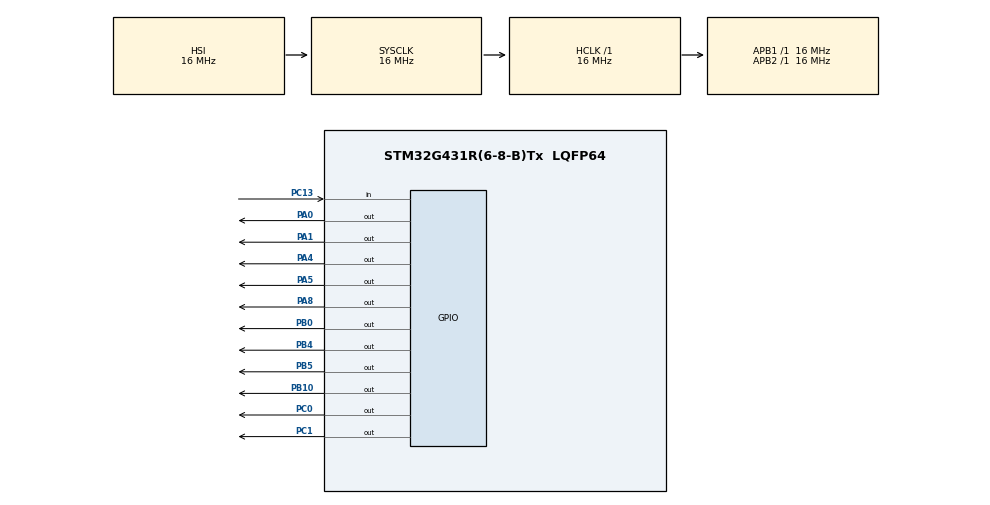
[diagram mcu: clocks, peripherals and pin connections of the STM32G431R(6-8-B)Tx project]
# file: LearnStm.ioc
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Mcu.Family=STM32G4
Mcu.Name=STM32G431R(6-8-B)Tx
Mcu.Package=LQFP64
NVIC.PriorityGroup=NVIC_PRIORITYGROUP_4
PA0.Signal=GPIO_Output
PA1.Signal=GPIO_Output
PA4.Signal=GPIO_Output
PA5.Signal=GPIO_Output
PA8.Signal=GPIO_Output
PB0.Signal=GPIO_Output
PB10.Signal=GPIO_Output
PB4.Signal=GPIO_Output
PB5.Signal=GPIO_Output
PC0.Signal=GPIO_Output
PC1.Signal=GPIO_Output
PC13.Signal=GPIO_Input
ProjectManager.HeapSize=0x200
ProjectManager.StackSize=0x400
ProjectManager.TargetToolchain=STM32CubeIDE
RCC.AHBFreq_Value=16000000
RCC.APB1Freq_Value=16000000
RCC.APB1TimFreq_Value=16000000
RCC.APB2Freq_Value=16000000
RCC.APB2TimFreq_Value=16000000
RCC.CortexFreq_Value=16000000
RCC.EXTERNAL_CLOCK_VALUE=12288000
RCC.HCLKFreq_Value=16000000
RCC.HSE_VALUE=8000000
RCC.HSI48_VALUE=48000000
RCC.HSI_VALUE=16000000
RCC.LSE_VALUE=32768
RCC.SYSCLKFreq_VALUE=16000000
RCC.USBFreq_Value=64000000
RCC.VCOOutputFreq_Value=128000000
VP_SYS_VS_DBSignals.Mode=DisableDeadBatterySignals
board=custom

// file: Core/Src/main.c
/* USER CODE BEGIN Header */
/**
  ******************************************************************************
  * @file           : main.c
  * @brief          : Main program body
  ******************************************************************************
  * @attention
  *
  * Copyright (c) 2026 STMicroelectronics.
  * All rights reserved.
  *
  * This software is licensed under terms that can be found in the LICENSE file
  * in the root directory of this software component.
  * If no LICENSE file comes with this software, it is provided AS-IS.
  *
  ******************************************************************************
  */
/* USER CODE END Header */
#include "main.h"

void SystemClock_Config(void);
static void MX_GPIO_Init(void);

int main(void)
{

  /* MCU Configuration--------------------------------------------------------*/

  /* Reset of all peripherals, Initializes the Flash interface and the Systick. */
  HAL_Init();

  /* Configure the system clock */
  SystemClock_Config();

  /* Initialize all configured peripherals */
  MX_GPIO_Init();

  /* Infinite loop */
  /* USER CODE BEGIN WHILE */
  void DisplayDigit(uint8_t num)
  {
      // bit 0 = a
      // bit 1 = b
      // bit 2 = c
      // bit 3 = d
      // bit 4 = e
      // bit 5 = f
      // bit 6 = g

      const uint8_t pattern[10] =
      {
          0b00111111, // 0 = a b c d e f
          0b00000110, // 1 = b c
          0b01011011, // 2 = a b d e g
          0b01001111, // 3 = a b c d g
          0b01100110, // 4 = b c f g
          0b01101101, // 5 = a c d f g
          0b01111101, // 6 = a c d e f g
          0b00000111, // 7 = a b c
          0b01111111, // 8 = a b c d e f g
          0b01101111  // 9 = a b c d f g
      };

      uint8_t p = pattern[num];

      // a → PC1
      HAL_GPIO_WritePin(GPIOC, GPIO_PIN_1,
          (p & (1 << 0)) ? GPIO_PIN_SET : GPIO_PIN_RESET);

      // b → PA8
      HAL_GPIO_WritePin(GPIOA, GPIO_PIN_8,
          (p & (1 << 1)) ? GPIO_PIN_SET : GPIO_PIN_RESET);

      // c → PA4
      HAL_GPIO_WritePin(GPIOA, GPIO_PIN_4,
          (p & (1 << 2)) ? GPIO_PIN_SET : GPIO_PIN_RESET);

      // d → PA1
      HAL_GPIO_WritePin(GPIOA, GPIO_PIN_1,
          (p & (1 << 3)) ? GPIO_PIN_SET : GPIO_PIN_RESET);

      // e → PA0
      HAL_GPIO_WritePin(GPIOA, GPIO_PIN_0,
          (p & (1 << 4)) ? GPIO_PIN_SET : GPIO_PIN_RESET);

      // f → PC0
      HAL_GPIO_WritePin(GPIOC, GPIO_PIN_0,
          (p & (1 << 5)) ? GPIO_PIN_SET : GPIO_PIN_RESET);

      // g → PB0
      HAL_GPIO_WritePin(GPIOB, GPIO_PIN_0,
          (p & (1 << 6)) ? GPIO_PIN_SET : GPIO_PIN_RESET);
  }
  while (1)
  {
	    // XANH
	    HAL_GPIO_WritePin(GPIOB, GPIO_PIN_5, GPIO_PIN_SET);
	    HAL_GPIO_WritePin(GPIOB, GPIO_PIN_10, GPIO_PIN_RESET);
	    HAL_GPIO_WritePin(GPIOB, GPIO_PIN_4, GPIO_PIN_RESET);
	    for (int i = 5; i >= 0; i--)
	    {
	        DisplayDigit(i);
	        HAL_Delay(1000);
	    }
	    // VÀNG
	    HAL_GPIO_WritePin(GPIOB, GPIO_PIN_5, GPIO_PIN_RESET);
	    HAL_GPIO_WritePin(GPIOB, GPIO_PIN_10, GPIO_PIN_SET);
	    HAL_GPIO_WritePin(GPIOB, GPIO_PIN_4, GPIO_PIN_RESET);
	    for (int i = 2; i >= 0; i--)
	    {
	        DisplayDigit(i);
	        HAL_Delay(1000);
	    }

	    // ĐỎ
	    HAL_GPIO_WritePin(GPIOB, GPIO_PIN_5, GPIO_PIN_RESET);
	    HAL_GPIO_WritePin(GPIOB, GPIO_PIN_10, GPIO_PIN_RESET);
	    HAL_GPIO_WritePin(GPIOB, GPIO_PIN_4, GPIO_PIN_SET);
	    for (int i = 5; i >= 0; i--)
	    {
	        DisplayDigit(i);
	        HAL_Delay(1000);
	    }
    /* USER CODE END WHILE */

  }
}

void SystemClock_Config(void)
{
  RCC_OscInitTypeDef RCC_OscInitStruct = {0};
  RCC_ClkInitTypeDef RCC_ClkInitStruct = {0};

  /** Configure the main internal regulator output voltage
  */
  HAL_PWREx_ControlVoltageScaling(PWR_REGULATOR_VOLTAGE_SCALE1);

  /** Initializes the RCC Oscillators according to the specified parameters
  * in the RCC_OscInitTypeDef structure.
  */
  RCC_OscInitStruct.OscillatorType = RCC_OSCILLATORTYPE_HSI;
  RCC_OscInitStruct.HSIState = RCC_HSI_ON;
  RCC_OscInitStruct.HSICalibrationValue = RCC_HSICALIBRATION_DEFAULT;
  RCC_OscInitStruct.PLL.PLLState = RCC_PLL_NONE;
  if (HAL_RCC_OscConfig(&RCC_OscInitStruct) != HAL_OK)
  {
    Error_Handler();
  }

  /** Initializes the CPU, AHB and APB buses clocks
  */
  RCC_ClkInitStruct.ClockType = RCC_CLOCKTYPE_HCLK|RCC_CLOCKTYPE_SYSCLK
                              |RCC_CLOCKTYPE_PCLK1|RCC_CLOCKTYPE_PCLK2;
  RCC_ClkInitStruct.SYSCLKSource = RCC_SYSCLKSOURCE_HSI;
  RCC_ClkInitStruct.AHBCLKDivider = RCC_SYSCLK_DIV1;
  RCC_ClkInitStruct.APB1CLKDivider = RCC_HCLK_DIV1;
  RCC_ClkInitStruct.APB2CLKDivider = RCC_HCLK_DIV1;

  if (HAL_RCC_ClockConfig(&RCC_ClkInitStruct, FLASH_LATENCY_0) != HAL_OK)
  {
    Error_Handler();
  }
}

static void MX_GPIO_Init(void)
{
  GPIO_InitTypeDef GPIO_InitStruct = {0};

  /* GPIO Ports Clock Enable */
  __HAL_RCC_GPIOC_CLK_ENABLE();
  __HAL_RCC_GPIOA_CLK_ENABLE();
  __HAL_RCC_GPIOB_CLK_ENABLE();

  /*Configure GPIO pin Output Level */
  HAL_GPIO_WritePin(GPIOC, GPIO_PIN_0|GPIO_PIN_1, GPIO_PIN_RESET);

  /*Configure GPIO pin Output Level */
  HAL_GPIO_WritePin(GPIOA, GPIO_PIN_0|GPIO_PIN_1|GPIO_PIN_4|GPIO_PIN_5
                          |GPIO_PIN_8, GPIO_PIN_RESET);

  /*Configure GPIO pin Output Level */
  HAL_GPIO_WritePin(GPIOB, GPIO_PIN_0|GPIO_PIN_10|GPIO_PIN_4|GPIO_PIN_5, GPIO_PIN_RESET);

  /*Configure GPIO pin : PC13 */
  GPIO_InitStruct.Pin = GPIO_PIN_13;
  GPIO_InitStruct.Mode = GPIO_MODE_INPUT;
  GPIO_InitStruct.Pull = GPIO_NOPULL;
  HAL_GPIO_Init(GPIOC, &GPIO_InitStruct);

  /*Configure GPIO pins : PC0 PC1 */
  GPIO_InitStruct.Pin = GPIO_PIN_0|GPIO_PIN_1;
  GPIO_InitStruct.Mode = GPIO_MODE_OUTPUT_PP;
  GPIO_InitStruct.Pull = GPIO_NOPULL;
  GPIO_InitStruct.Speed = GPIO_SPEED_FREQ_LOW;
  HAL_GPIO_Init(GPIOC, &GPIO_InitStruct);

  /*Configure GPIO pins : PA0 PA1 PA4 PA5
                           PA8 */
  GPIO_InitStruct.Pin = GPIO_PIN_0|GPIO_PIN_1|GPIO_PIN_4|GPIO_PIN_5
                          |GPIO_PIN_8;
  GPIO_InitStruct.Mode = GPIO_MODE_OUTPUT_PP;
  GPIO_InitStruct.Pull = GPIO_NOPULL;
  GPIO_InitStruct.Speed = GPIO_SPEED_FREQ_LOW;
  HAL_GPIO_Init(GPIOA, &GPIO_InitStruct);

  /*Configure GPIO pins : PB0 PB10 PB4 PB5 */
  GPIO_InitStruct.Pin = GPIO_PIN_0|GPIO_PIN_10|GPIO_PIN_4|GPIO_PIN_5;
  GPIO_InitStruct.Mode = GPIO_MODE_OUTPUT_PP;
  GPIO_InitStruct.Pull = GPIO_NOPULL;
  GPIO_InitStruct.Speed = GPIO_SPEED_FREQ_LOW;
  HAL_GPIO_Init(GPIOB, &GPIO_InitStruct);

}

void Error_Handler(void)
{
  __disable_irq();
  while (1)
  {
  }
}
